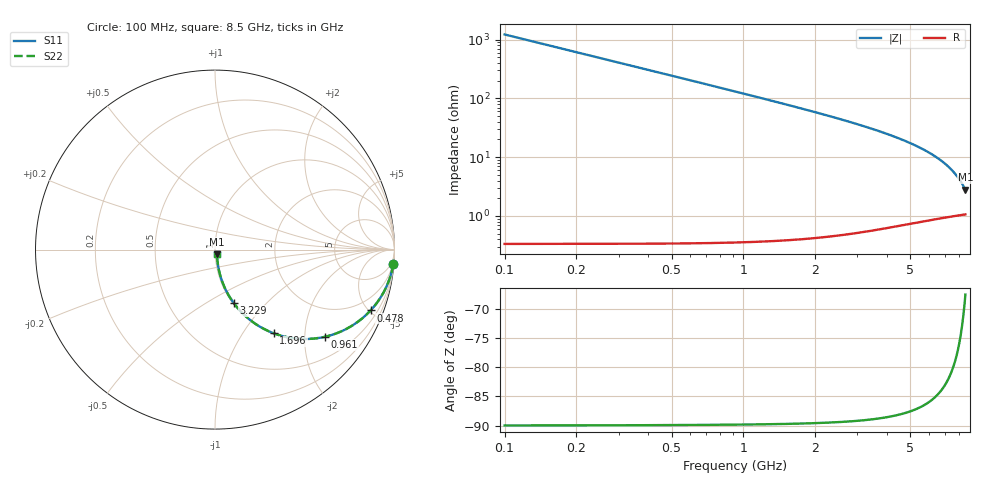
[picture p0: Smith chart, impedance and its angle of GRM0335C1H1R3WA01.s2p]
!Murata Part Number: GRM0335C1H1R3WA01
!These Parameters are Measured in Series Mode Connection
!Data Generated on Mar 30, 2021
!  o--ll--o
!Port1  Port2
!  o------o
!Operation Temp=25[degC], DC Bias Voltage=0[V]
!Freq. Start=100[MHz] Stop=9[GHz] 401[Steps]
# Hz S RI R 50
!Freq.(Hz) S11(Real) S11(Imag) S21(Real) S21(Imag) S12(Real) S12(Imag) S22(Real) S22(Imag)
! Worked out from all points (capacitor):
!   401 points, 100 MHz to 8.5 GHz, reference 50 ohm
!   read as one part in series: C = 1.3 pF near 142 MHz
!   lowest |Z| = 2.78 ohm at 8.5 GHz (marker M1)
!   S11 on the Smith chart (normalised r, x): 100 MHz: 1, -24; 478 MHz: 1.01, -5.11; 961 MHz: 1.01, -2.52; 1.696 GHz: 1.01, -1.39; 3.229 GHz: 1.01, -0.66; 8.5 GHz: 1.02, -0.05
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1e8  0.9933 -0.0811  0.00665 0.0811  0.00665 0.0811  0.9933 -0.0811
1.21e8  0.9903 -0.0979  0.00971 0.0979  0.00971 0.0979  0.9903 -0.0979
2.05e8  0.9726 -0.1629  0.0274 0.1629  0.0274 0.1629  0.9726 -0.1629
2.68e8  0.9541 -0.209  0.0459 0.209  0.0459 0.209  0.9541 -0.209
3.73e8  0.9146 -0.279  0.0854 0.279  0.0854 0.279  0.9146 -0.279
4.78e8  0.8668 -0.3392  0.1332 0.3392  0.1332 0.3392  0.8668 -0.3392
5.83e8  0.8135 -0.3887  0.1865 0.3887  0.1865 0.3887  0.8135 -0.3887
6.88e8  0.7574 -0.4277  0.2426 0.4277  0.2426 0.4277  0.7574 -0.4277
9.61e8  0.6131 -0.4856  0.3869 0.4856  0.3869 0.4856  0.6131 -0.4856
1.213e9  0.4956 -0.4981  0.5044 0.4981  0.5044 0.4981  0.4956 -0.4981
1.507e9  0.3848 -0.4841  0.6152 0.4841  0.6152 0.4841  0.3848 -0.4841
1.696e9  0.3277 -0.4665  0.6723 0.4665  0.6723 0.4665  0.3277 -0.4665
1.948e9  0.2659 -0.4384  0.7341 0.4384  0.7341 0.4384  0.2659 -0.4384
2.242e9  0.2104 -0.4033  0.7896 0.4033  0.7896 0.4033  0.2104 -0.4033
2.914e9  0.128 -0.3274  0.872 0.3274  0.872 0.3274  0.128 -0.3274
3.229e9  0.1031 -0.2961  0.8969 0.2961  0.8969 0.2961  0.1031 -0.2961
4.3e9  0.0528 -0.2094  0.9472 0.2094  0.9472 0.2094  0.0528 -0.2094
5.707e9  0.0251 -0.1288  0.9749 0.1288  0.9749 0.1288  0.0251 -0.1288
6.484e9  0.0179 -0.0945  0.9821 0.0945  0.9821 0.0945  0.0179 -0.0945
7.114e9  0.0144 -0.0703  0.9856 0.0703  0.9856 0.0703  0.0144 -0.0703
7.87e9  0.012 -0.0445  0.988 0.0445  0.988 0.0445  0.012 -0.0445
8.5e9  0.0112 -0.0252  0.9888 0.0252  0.9888 0.0252  0.0112 -0.0252
